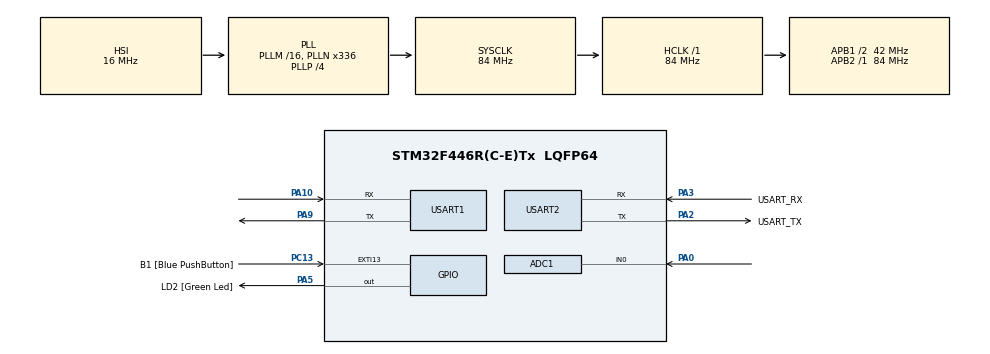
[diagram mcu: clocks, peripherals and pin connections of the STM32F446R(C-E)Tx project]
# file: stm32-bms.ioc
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ADC1.Channel-5\#ChannelRegularConversion=ADC_CHANNEL_0
ADC1.DMAContinuousRequests=ENABLE
ADC1.ExternalTrigConv=ADC_EXTERNALTRIGCONV_T2_TRGO
ADC1.ExternalTrigConvEdge=ADC_EXTERNALTRIGCONVEDGE_RISING
ADC1.NbrOfConversion=1
ADC1.NbrOfConversionFlag=1
ADC1.Rank-5\#ChannelRegularConversion=1
ADC1.SamplingTime-5\#ChannelRegularConversion=ADC_SAMPLETIME_480CYCLES
ADC1.master=1
Dma.ADC1.0.Direction=DMA_PERIPH_TO_MEMORY
Dma.ADC1.0.FIFOMode=DMA_FIFOMODE_DISABLE
Dma.ADC1.0.Instance=DMA2_Stream0
Dma.ADC1.0.MemDataAlignment=DMA_MDATAALIGN_HALFWORD
Dma.ADC1.0.MemInc=DMA_MINC_ENABLE
Dma.ADC1.0.Mode=DMA_CIRCULAR
Dma.ADC1.0.PeriphDataAlignment=DMA_PDATAALIGN_HALFWORD
Dma.ADC1.0.PeriphInc=DMA_PINC_DISABLE
Dma.ADC1.0.Priority=DMA_PRIORITY_MEDIUM
Dma.Request0=ADC1
Mcu.Family=STM32F4
Mcu.Name=STM32F446R(C-E)Tx
Mcu.Package=LQFP64
NVIC.DMA2_Stream0_IRQn=true\:0\:0\:false\:false\:true\:false\:true\:true
NVIC.PriorityGroup=NVIC_PRIORITYGROUP_0
PA0-WKUP.Signal=ADCx_IN0
PA10.Mode=Asynchronous
PA10.Signal=USART1_RX
PA13.GPIO_Label=TMS
PA13.Mode=Serial_Wire
PA13.Signal=SYS_JTMS-SWDIO
PA14.GPIO_Label=TCK
PA14.Mode=Serial_Wire
PA14.Signal=SYS_JTCK-SWCLK
PA2.GPIO_Label=USART_TX
PA2.Mode=Asynchronous
PA2.Signal=USART2_TX
PA3.GPIO_Label=USART_RX
PA3.Mode=Asynchronous
PA3.Signal=USART2_RX
PA5.GPIO_Label=LD2 [Green Led]
PA5.Signal=GPIO_Output
PA9.Mode=Asynchronous
PA9.Signal=USART1_TX
PB3.GPIO_Label=SWO
PB3.Signal=SYS_JTDO-SWO
PC13.GPIO_Label=B1 [Blue PushButton]
PC13.GPIO_ModeDefaultEXTI=GPIO_MODE_IT_FALLING
PC13.Signal=GPXTI13
PC14-OSC32_IN.Mode=LSE-External-Oscillator
PC14-OSC32_IN.Signal=RCC_OSC32_IN
PC15-OSC32_OUT.Mode=LSE-External-Oscillator
PC15-OSC32_OUT.Signal=RCC_OSC32_OUT
PH0-OSC_IN.Mode=HSE-External-Oscillator
PH0-OSC_IN.Signal=RCC_OSC_IN
PH1-OSC_OUT.Mode=HSE-External-Oscillator
PH1-OSC_OUT.Signal=RCC_OSC_OUT
ProjectManager.HeapSize=0x200
ProjectManager.StackSize=0x400
ProjectManager.TargetToolchain=CMake
RCC.48MHZClocksFreq_Value=84000000
RCC.AHBFreq_Value=84000000
RCC.APB1CLKDivider=RCC_HCLK_DIV2
RCC.APB1Freq_Value=42000000
RCC.APB1TimFreq_Value=84000000
RCC.APB2Freq_Value=84000000
RCC.APB2TimFreq_Value=84000000
RCC.CortexFreq_Value=84000000
RCC.FLatency-AdvancedSettings=FLASH_LATENCY_2
RCC.HCLKFreq_Value=84000000
RCC.HSE_VALUE=8000000
RCC.HSI_VALUE=16000000
RCC.PLLN=336
RCC.PLLP=RCC_PLLP_DIV4
RCC.SYSCLKFreq_VALUE=84000000
RCC.SYSCLKSource=RCC_SYSCLKSOURCE_PLLCLK
RCC.USBFreq_Value=168000000
RCC.VCOOutputFreq_Value=336000000
SH.ADCx_IN0.0=ADC1_IN0,IN0
TIM2.Period=99
TIM2.Prescaler=8399
TIM2.TIM_MasterOutputTrigger=TIM_TRGO_UPDATE
TIM2.TIM_MasterSlaveMode=TIM_MASTERSLAVEMODE_DISABLE
USART1.VirtualMode=VM_ASYNC
USART2.VirtualMode=VM_ASYNC
VP_TIM2_VS_ClockSourceINT.Mode=Internal
board=NUCLEO-F446RE

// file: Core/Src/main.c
/* USER CODE BEGIN Header */
/**
  ******************************************************************************
  * @file           : main.c
  * @brief          : Main program body
  ******************************************************************************
  * @attention
  *
  * Copyright (c) 2026 STMicroelectronics.
  * All rights reserved.
  *
  * This software is licensed under terms that can be found in the LICENSE file
  * in the root directory of this software component.
  * If no LICENSE file comes with this software, it is provided AS-IS.
  *
  ******************************************************************************
  */
/* USER CODE END Header */
#include "main.h"
#include "adc.h"
#include "dma.h"
#include "tim.h"
#include "usart.h"
#include "gpio.h"

/* USER CODE BEGIN Includes */
#include <string.h>
#include <stdio.h>
/* USER CODE END Includes */

/* USER CODE BEGIN PD */
#define ADC_BUF_SIZE 64
/* USER CODE END PD */

/* USER CODE BEGIN PV */
uint16_t adc_buf[ADC_BUF_SIZE];
volatile uint8_t adc_ready_flag = 0;
volatile float voltage = 0;
/* USER CODE END PV */

void SystemClock_Config(void);

int main(void)
{

  /* MCU Configuration--------------------------------------------------------*/

  /* Reset of all peripherals, Initializes the Flash interface and the Systick. */
  HAL_Init();

  /* Configure the system clock */
  SystemClock_Config();

  /* Initialize all configured peripherals */
  MX_GPIO_Init();
  MX_DMA_Init();
  MX_USART2_UART_Init();
  MX_ADC1_Init();
  MX_TIM2_Init();
  MX_USART1_UART_Init();
  /* USER CODE BEGIN 2 */
  HAL_TIM_Base_Start(&htim2);
  HAL_ADC_Start_DMA(&hadc1, (uint32_t*)adc_buf, ADC_BUF_SIZE);

  /* USER CODE END 2 */

  /* Infinite loop */
  /* USER CODE BEGIN WHILE */
  while (1)
  {
    adc_ready_flag = 0;

    uint32_t sum = 0;
    for(int i = 0; i < ADC_BUF_SIZE; i++) sum += adc_buf[i];
    uint16_t avg = sum / ADC_BUF_SIZE;

    voltage = (float)avg * 3.3f * (100.0f + 47.0f) / (4095.0f * 47.0f);
    uint8_t voltage_mV = (uint16_t)(voltage * 100);
    uint8_t packet[6];

    packet[0] = 0xAA;
    packet[1] = 2;
    packet[2] = voltage_mV & 0xFF;
    packet[3] = voltage_mV >> 8;
    packet[4] = packet[1] ^ packet[2] ^ packet[3];
    packet[5] = 0xFF;

    HAL_UART_Transmit(&huart1, packet, sizeof(packet), 100);
    HAL_Delay(1000);
    /* USER CODE END WHILE */

  }
}

void SystemClock_Config(void)
{
  RCC_OscInitTypeDef RCC_OscInitStruct = {0};
  RCC_ClkInitTypeDef RCC_ClkInitStruct = {0};

  /** Configure the main internal regulator output voltage
  */
  __HAL_RCC_PWR_CLK_ENABLE();
  __HAL_PWR_VOLTAGESCALING_CONFIG(PWR_REGULATOR_VOLTAGE_SCALE3);

  /** Initializes the RCC Oscillators according to the specified parameters
  * in the RCC_OscInitTypeDef structure.
  */
  RCC_OscInitStruct.OscillatorType = RCC_OSCILLATORTYPE_HSI;
  RCC_OscInitStruct.HSIState = RCC_HSI_ON;
  RCC_OscInitStruct.HSICalibrationValue = RCC_HSICALIBRATION_DEFAULT;
  RCC_OscInitStruct.PLL.PLLState = RCC_PLL_ON;
  RCC_OscInitStruct.PLL.PLLSource = RCC_PLLSOURCE_HSI;
  RCC_OscInitStruct.PLL.PLLM = 16;
  RCC_OscInitStruct.PLL.PLLN = 336;
  RCC_OscInitStruct.PLL.PLLP = RCC_PLLP_DIV4;
  RCC_OscInitStruct.PLL.PLLQ = 2;
  RCC_OscInitStruct.PLL.PLLR = 2;
  if (HAL_RCC_OscConfig(&RCC_OscInitStruct) != HAL_OK)
  {
    Error_Handler();
  }

  /** Initializes the CPU, AHB and APB buses clocks
  */
  RCC_ClkInitStruct.ClockType = RCC_CLOCKTYPE_HCLK|RCC_CLOCKTYPE_SYSCLK
                              |RCC_CLOCKTYPE_PCLK1|RCC_CLOCKTYPE_PCLK2;
  RCC_ClkInitStruct.SYSCLKSource = RCC_SYSCLKSOURCE_PLLCLK;
  RCC_ClkInitStruct.AHBCLKDivider = RCC_SYSCLK_DIV1;
  RCC_ClkInitStruct.APB1CLKDivider = RCC_HCLK_DIV2;
  RCC_ClkInitStruct.APB2CLKDivider = RCC_HCLK_DIV1;

  if (HAL_RCC_ClockConfig(&RCC_ClkInitStruct, FLASH_LATENCY_2) != HAL_OK)
  {
    Error_Handler();
  }
}

/* USER CODE BEGIN 4 */
void HAL_ADC_ConvCpltCallback(ADC_HandleTypeDef* hadc)
{
    if (hadc->Instance == ADC1)
    {
      adc_ready_flag = 1;
    }
}

/* USER CODE END 4 */

void Error_Handler(void)
{
  __disable_irq();
  while (1)
  {
  }
}
